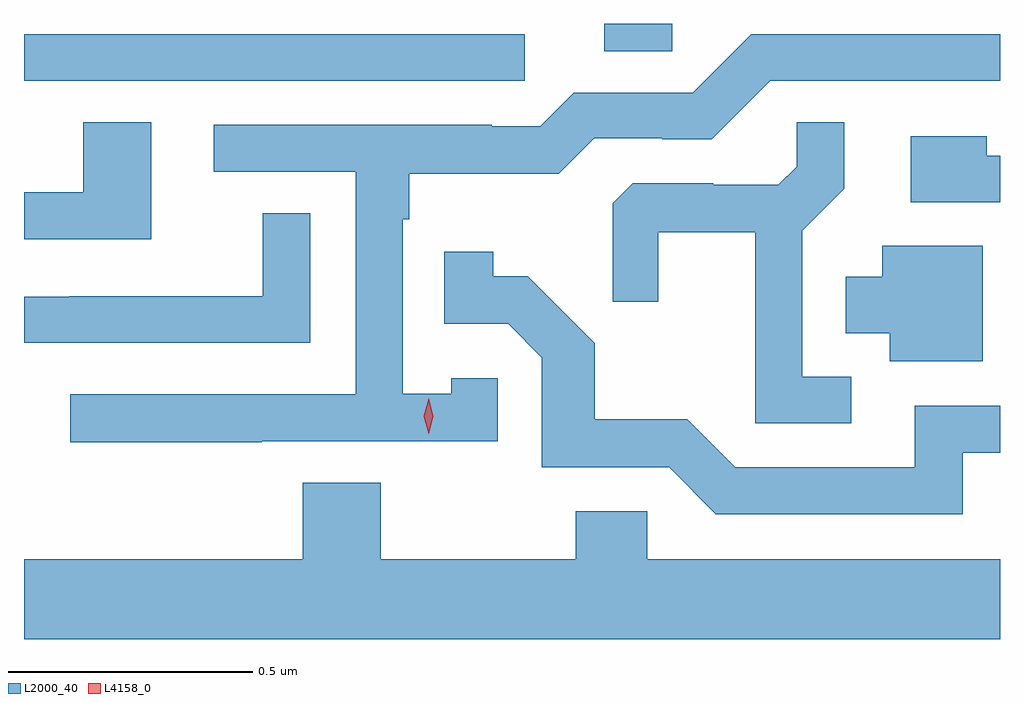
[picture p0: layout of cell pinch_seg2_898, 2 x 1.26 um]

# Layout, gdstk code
import gdstk
lib = gdstk.Library(unit=1e-6, precision=1e-09)
def R(c, l, rs):  # rectangles x0, y0, x1, y1
    for r in rs: c.add(gdstk.rectangle(r[:2], r[2:], *l))
def P(c, l, *ps):  # polygons
    for p in ps: c.add(gdstk.Polygon(p, *l))
L2000_40 = (2000, 40)
L4158_0 = (4158, 0)

pinch_seg2_898 = lib.new_cell('pinch_seg2_898')
R(pinch_seg2_898, L2000_40, [(455.272,591.504,456.298,591.6), (456.461,591.565,456.6,591.621)])
P(pinch_seg2_898, L2000_40, [(455.759,590.766),(456.243,590.766),(456.243,590.895),(456.147,590.895),(456.147,590.863),(456.048,590.863),(456.048,591.221),(456.061,591.221),(456.061,591.314),(456.368,591.314),(456.441,591.387),(456.58,591.387),(456.58,591.384),(456.681,591.384),(456.801,591.504),(457.272,591.504),(457.272,591.6),(456.762,591.6),(456.642,591.48),(456.399,591.48),(456.33,591.411),(456.23,591.411),(456.23,591.414),(455.661,591.414),(455.661,591.318),(455.952,591.318),(455.952,590.862),(455.367,590.862),(455.367,590.764),(455.759,590.764)],
  [(456.967,590.898),(456.867,590.898),(456.867,591.197),(456.953,591.283),(456.953,591.419),(456.855,591.419),(456.855,591.328),(456.818,591.291),(456.684,591.291),(456.684,591.294),(456.519,591.294),(456.478,591.253),(456.478,591.051),(456.572,591.051),(456.572,591.194),(456.77,591.194),(456.77,590.802),(456.967,590.802)],
  [(455.533,591.419),(455.393,591.419),(455.393,591.276),(455.272,591.276),(455.272,591.18),(455.533,591.18)],
  [(457.272,591.351),(457.245,591.351),(457.245,591.391),(457.089,591.391),(457.089,591.255),(457.272,591.255)],
  [(455.859,591.233),(455.761,591.233),(455.761,591.063),(455.365,591.063),(455.365,591.062),(455.272,591.062),(455.272,590.967),(455.859,590.967)],
  [(457.237,591.166),(457.031,591.166),(457.031,591.103),(456.956,591.103),(456.956,590.987),(457.046,590.987),(457.046,590.93),(457.237,590.93)],
  [(457.196,590.742),(457.272,590.742),(457.272,590.838),(457.097,590.838),(457.097,590.712),(456.729,590.712),(456.631,590.811),(456.442,590.811),(456.442,590.966),(456.304,591.104),(456.234,591.104),(456.234,591.154),(456.133,591.154),(456.133,591.006),(456.264,591.006),(456.333,590.937),(456.333,590.712),(456.594,590.712),(456.69,590.616),(457.196,590.616)],
  [(457.272,590.524),(456.549,590.524),(456.549,590.622),(456.403,590.622),(456.403,590.524),(456.003,590.524),(456.003,590.681),(455.843,590.681),(455.843,590.524),(455.272,590.524),(455.272,590.36),(457.272,590.36)])
P(pinch_seg2_898, L4158_0, [(456.101,590.781),(456.101,590.781),(456.091,590.817),(456.101,590.853),(456.101,590.854),(456.101,590.853),(456.111,590.817),(456.101,590.781)])

lib.write_gds('pinch_seg2_898.gds')
